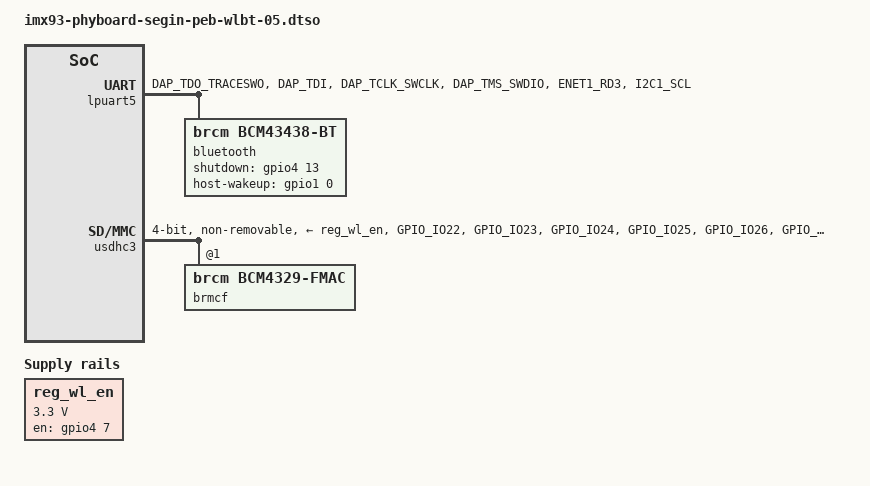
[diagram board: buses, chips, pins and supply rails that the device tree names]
// SPDX-License-Identifier: GPL-2.0
/*
 * Copyright (C) 2025 PHYTEC Messtechnik GmbH
 * Author: Andrej Picej <andrej.picej@norik.com>
 */

/dts-v1/;
/plugin/;

#include <dt-bindings/gpio/gpio.h>
#include "imx93-pinfunc.h"

&{/} {
	reg_wl_en: regulator-wl-en {
		compatible = "regulator-fixed";
		gpio = <&gpio4 7 GPIO_ACTIVE_HIGH>;
		pinctrl-names = "default";
		pinctrl-0 = <&pinctrl_wl>;
		enable-active-high;
		startup-delay-us = <100>;
		regulator-name = "WLAN_EN";
		regulator-min-microvolt = <3300000>;
		regulator-max-microvolt = <3300000>;
	};
};

&lpuart5 {
	pinctrl-names = "default";
	pinctrl-0 = <&pinctrl_lpuart5_bt &pinctrl_bt>;
	status = "okay";

	bluetooth {
		compatible = "brcm,bcm43438-bt";
		shutdown-gpios = <&gpio4 13 GPIO_ACTIVE_HIGH>;
		host-wakeup-gpios = <&gpio1 0 GPIO_ACTIVE_HIGH>;
		max-speed = <2000000>;
	};
};

&usdhc3 {
	#address-cells = <1>;
	#size-cells = <0>;
	pinctrl-names = "default";
	pinctrl-0 = <&pinctrl_usdhc3_wl>;
	vmmc-supply = <&reg_wl_en>;
	bus-width = <4>;
	non-removable;
	no-1-8-v;
	status = "okay";

	brmcf: wifi@1 {
		compatible = "brcm,bcm4329-fmac";
		reg = <1>;
	};
};

&iomuxc {
	pinctrl_bt: btgrp {
		fsl,pins = <
			MX93_PAD_ENET1_RD3__GPIO4_IO13	0x31e	/* BT ENABLE */
			MX93_PAD_I2C1_SCL__GPIO1_IO00	0x31e	/* HOST WAKEUP */
		>;
	};

	pinctrl_lpuart5_bt: lpuart5btgrp {
		fsl,pins = <
			MX93_PAD_DAP_TDO_TRACESWO__LPUART5_TX	0x31e
			MX93_PAD_DAP_TDI__LPUART5_RX			0x31e
			MX93_PAD_DAP_TCLK_SWCLK__LPUART5_CTS_B	0x31e
			MX93_PAD_DAP_TMS_SWDIO__LPUART5_RTS_B	0x31e
		>;
	};

	pinctrl_usdhc3_wl: usdhc3wlgrp {
		fsl,pins = <
			MX93_PAD_GPIO_IO22__USDHC3_CLK		0x179e
			MX93_PAD_GPIO_IO23__USDHC3_CMD		0x4000139e
			MX93_PAD_GPIO_IO24__USDHC3_DATA0	0x4000139e
			MX93_PAD_GPIO_IO25__USDHC3_DATA1	0x4000139e
			MX93_PAD_GPIO_IO26__USDHC3_DATA2	0x4000139e
			MX93_PAD_GPIO_IO27__USDHC3_DATA3	0x4000139e
		>;
	};

	pinctrl_wl: wlgrp {
		fsl,pins = <
			MX93_PAD_ENET1_TXC__GPIO4_IO07		0x31e	/* WLAN ENABLE */
		>;
	};
};
